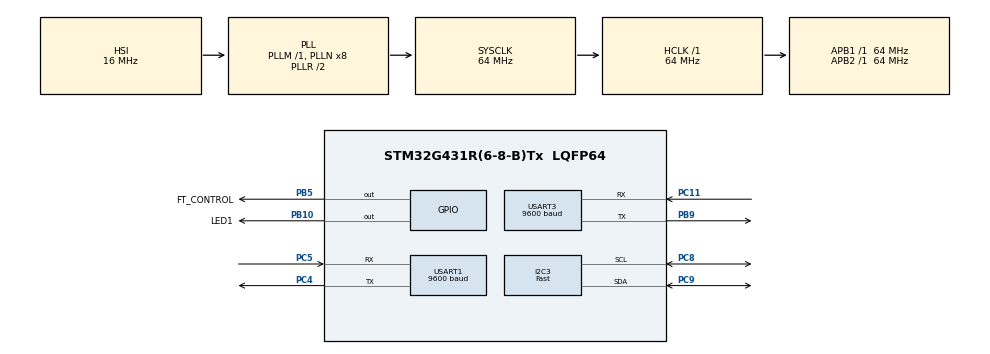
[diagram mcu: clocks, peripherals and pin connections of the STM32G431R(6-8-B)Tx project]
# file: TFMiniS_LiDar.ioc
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Dma.Request0=USART3_RX
Dma.USART3_RX.0.Direction=DMA_PERIPH_TO_MEMORY
Dma.USART3_RX.0.EventEnable=DISABLE
Dma.USART3_RX.0.Instance=DMA1_Channel1
Dma.USART3_RX.0.MemDataAlignment=DMA_MDATAALIGN_BYTE
Dma.USART3_RX.0.MemInc=DMA_MINC_ENABLE
Dma.USART3_RX.0.Mode=DMA_NORMAL
Dma.USART3_RX.0.PeriphDataAlignment=DMA_PDATAALIGN_BYTE
Dma.USART3_RX.0.PeriphInc=DMA_PINC_DISABLE
Dma.USART3_RX.0.Polarity=HAL_DMAMUX_REQ_GEN_RISING
Dma.USART3_RX.0.Priority=DMA_PRIORITY_LOW
Dma.USART3_RX.0.RequestNumber=1
Dma.USART3_RX.0.SignalID=NONE
Dma.USART3_RX.0.SyncEnable=DISABLE
Dma.USART3_RX.0.SyncPolarity=HAL_DMAMUX_SYNC_NO_EVENT
Dma.USART3_RX.0.SyncRequestNumber=1
Dma.USART3_RX.0.SyncSignalID=NONE
I2C3.CustomTiming=Disabled
I2C3.I2C_Speed_Mode=I2C_Fast
I2C3.Timing=0x00602173
Mcu.Family=STM32G4
Mcu.Name=STM32G431R(6-8-B)Tx
Mcu.Package=LQFP64
NVIC.DMA1_Channel1_IRQn=true\:0\:0\:false\:false\:true\:false\:true\:true
NVIC.PriorityGroup=NVIC_PRIORITYGROUP_4
NVIC.TIM3_IRQn=true\:2\:0\:true\:false\:true\:true\:true\:true
NVIC.USART1_IRQn=true\:1\:0\:true\:false\:true\:true\:true\:true
NVIC.USART3_IRQn=true\:0\:0\:false\:false\:true\:true\:true\:true
PA13.Mode=Serial_Wire
PA13.Signal=SYS_JTMS-SWDIO
PA14.Mode=Serial_Wire
PA14.Signal=SYS_JTCK-SWCLK
PB10.GPIO_Label=LED1
PB10.GPIO_ModeDefaultOutputPP=GPIO_MODE_OUTPUT_OD
PB10.GPIO_PuPd=GPIO_NOPULL
PB10.GPIO_Speed=GPIO_SPEED_FREQ_HIGH
PB10.Signal=GPIO_Output
PB10.Stacked=true
PB5.GPIO_Label=FT_CONTROL
PB5.Signal=GPIO_Output
PB9.Mode=Asynchronous
PB9.Signal=USART3_TX
PC11.Mode=Asynchronous
PC11.Signal=USART3_RX
PC14-OSC32_IN.Mode=LSE-External-Oscillator
PC14-OSC32_IN.Signal=RCC_OSC32_IN
PC15-OSC32_OUT.Mode=LSE-External-Oscillator
PC15-OSC32_OUT.Signal=RCC_OSC32_OUT
PC4.Mode=Asynchronous
PC4.Signal=USART1_TX
PC5.Mode=Asynchronous
PC5.Signal=USART1_RX
PC8.Mode=I2C
PC8.Signal=I2C3_SCL
PC9.Mode=I2C
PC9.Signal=I2C3_SDA
ProjectManager.HeapSize=0x200
ProjectManager.StackSize=0x600
ProjectManager.TargetToolchain=STM32CubeIDE
RCC.ADC12Freq_Value=64000000
RCC.AHBFreq_Value=64000000
RCC.APB1Freq_Value=64000000
RCC.APB1TimFreq_Value=64000000
RCC.APB2Freq_Value=64000000
RCC.APB2TimFreq_Value=64000000
RCC.CortexFreq_Value=64000000
RCC.EXTERNAL_CLOCK_VALUE=12288000
RCC.HCLKFreq_Value=64000000
RCC.HSE_VALUE=8000000
RCC.HSI48_VALUE=48000000
RCC.HSI_VALUE=16000000
RCC.RCC_MCO1Source=RCC_MCO1SOURCE_LSE
RCC.SYSCLKFreq_VALUE=64000000
RCC.SYSCLKSource=RCC_SYSCLKSOURCE_PLLCLK
RCC.USBFreq_Value=64000000
RCC.VCOOutputFreq_Value=128000000
TIM3.PeriodNoDither=239
TIM3.Prescaler=199
USART1.BaudRate=9600
USART1.VirtualMode-Asynchronous=VM_ASYNC
USART3.BaudRate=9600
USART3.VirtualMode-Asynchronous=VM_ASYNC
VP_RTC_VS_RTC_Activate.Mode=RTC_Enabled
VP_SYS_VS_DBSignals.Mode=DisableDeadBatterySignals
VP_TIM3_VS_ClockSourceINT.Mode=Internal
board=custom

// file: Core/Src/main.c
/* USER CODE BEGIN Header */
/**
 ******************************************************************************
 * @file           : main.c
 * @brief          : Main program body
 ******************************************************************************
 * @attention
 *
 * Copyright (c) 2024 STMicroelectronics.
 * All rights reserved.
 *
 * This software is licensed under terms that can be found in the LICENSE file
 * in the root directory of this software component.
 * If no LICENSE file comes with this software, it is provided AS-IS.
 *
 ******************************************************************************
 */
/* USER CODE END Header */
#include "main.h"

/* USER CODE BEGIN Includes */
#include "stm32g4xx.h"
#include <stdint.h>
#include <stdio.h>
#include <string.h>
#include <OLED_Fonts.h>
#include <OLED_Icons.h>
#include <OLED.h>
/* USER CODE END Includes */

I2C_HandleTypeDef hi2c3;

RTC_HandleTypeDef hrtc;

TIM_HandleTypeDef htim3;

UART_HandleTypeDef huart1;
UART_HandleTypeDef huart3;
DMA_HandleTypeDef hdma_usart3_rx;

/* USER CODE BEGIN PV */
char lidar_rx_buff[15] = {0};
char buff[] = "0000 cm";
char eco[] = "[g,TX]";
uint8_t cmd[] = {0x5A, 0x05, 0x07, 0x01, 0x67}; // Comando exemplo (substitua pelo comando correto)
uint8_t rcv_byte,
/*----*/init_rcv,
/*----*/flag_pacote_completo,
/*----*/auxbuff = 0;
uint16_t altura_sensor,
/*-----*/altura_sensor_old,
/*-----*/cont[8]= {0};
/* USER CODE END PV */

void SystemClock_Config(void);
static void MX_GPIO_Init(void);
static void MX_DMA_Init(void);
static void MX_I2C3_Init(void);
static void MX_TIM3_Init(void);
static void MX_USART3_UART_Init(void);
static void MX_RTC_Init(void);
static void MX_USART1_UART_Init(void);
/* USER CODE BEGIN PFP */
uint8_t leitura_buffer(void);
void trata_uart(void);
void trata_string(void);
void transmite_tfmini(void);
/* USER CODE END PFP */

/* USER CODE BEGIN 0 */
void HAL_UART_RxCpltCallback(UART_HandleTypeDef *huart){
	if(huart->Instance == USART3) {	/*USART 2 RS485*/
		if(rcv_byte == '[')
			init_rcv = 1;
		if(init_rcv){
			lidar_rx_buff[auxbuff] = rcv_byte;
			auxbuff++;
		}
		if(rcv_byte == ']'){
			flag_pacote_completo = 1;
			auxbuff = 0;
		}
		if(auxbuff>=15){
			flag_pacote_completo = 1;
			auxbuff = 0;
		}
		else
			HAL_UART_Receive_DMA(&huart3, (uint8_t*)&rcv_byte, sizeof(rcv_byte));	/*RECEBE UM BYTE*/
	}
}
void HAL_TIM_PeriodElapsedCallback(TIM_HandleTypeDef * htim){						/*ENDEREÇO DE HTIM COMO PARAMETRO*/
	if(htim->Instance == TIM3){
		/***************************************************************************************************************************
		 * IR�? LER O MEMBRO DA ESTRUTURA APONTADO PELO PONTEIRO PASSADO COMO ARGUMENTO (*htim/nome da estrutura) DA FUNC CALL BACK *
		 * FUNÇÃO DE TRATAMENTO DE INTERRUPÇÃO POR OVERFLOW TIMER3, Instance É A FLAG QUE INDICA QUAL TIMER GEROU A INTERRUPÇÃO    *
		 * DELAYS POR INTERRUPÇÃO - CONTADORES																					   *
		 ***************************************************************************************************************************/
		/*------------------INCREMENTO DOS CONTADORES--------------------*/
		cont[0]++;
		if(cont[0]>=250){
			HAL_GPIO_TogglePin(LED1_GPIO_Port, LED1_Pin);	/*PISCA LED DE VERIFICAÇÃO*/
			cont[0] = 0;
		}
	}
}
void trata_uart(void){	/*TRATA O PACOTE RECEBIDO NA UART 3 ENVIADO PELO SENSOR*/

	altura_sensor = 0;
	altura_sensor = (lidar_rx_buff[7] - 0x30);
	altura_sensor *= 10;
	altura_sensor += (lidar_rx_buff[8] - 0x30);
	altura_sensor *= 10;
	altura_sensor += (lidar_rx_buff[9] - 0x30);
	altura_sensor *= 10;
	altura_sensor += (lidar_rx_buff[10] - 0x30);

	if(altura_sensor >999)
		altura_sensor = altura_sensor_old;
	else
		altura_sensor_old = altura_sensor;

	flag_pacote_completo = 0;
}
/*SER�? IMPLEMENTADO DEPOIS*/
void trata_string(void){
	sprintf(buff, "%04d cm", altura_sensor);
}
void transmite_tfmini(void){	/*TRATA A STRING E TRANSMITE VIA RF*/
	char buff1[9] = "0000 cm\n";
	sprintf(buff1, "%04d cm\n", altura_sensor);
	HAL_UART_Transmit(&huart1, (uint8_t*)buff1, sizeof(buff1), 0xFF);
}
/* USER CODE END 0 */

int main(void)
{

  /* MCU Configuration--------------------------------------------------------*/

  /* Reset of all peripherals, Initializes the Flash interface and the Systick. */
  HAL_Init();

  /* Configure the system clock */
  SystemClock_Config();

  /* Initialize all configured peripherals */
  MX_GPIO_Init();
  MX_DMA_Init();
  MX_I2C3_Init();
  MX_TIM3_Init();
  MX_USART3_UART_Init();
  MX_RTC_Init();
  MX_USART1_UART_Init();
  /* USER CODE BEGIN 2 */
	HAL_TIM_Base_Start_IT(&htim3); //INCIA TIMER3 COM INTERRUPÇÃO NO OVERFLOW
	HAL_Delay(100);
	HAL_GPIO_WritePin(FT_CONTROL_GPIO_Port, FT_CONTROL_Pin, GPIO_PIN_RESET);		/*SETA O DISPOSITIVO PARA RECEBIMENTO*/
	HAL_UART_Receive_DMA(&huart3, (uint8_t*)&rcv_byte, 1);					/*RECEBE UM BYTE*//*TRIGGER RX*/
	/*INICIANDO DISPLAY*/
	OLED_Init(&hi2c3);
	OLED_Clear(0);
	OLED_UpdateScreen();
  /* USER CODE END 2 */

  /* Infinite loop */
	while (1)
	{

    /* USER CODE BEGIN 3 */
		if(flag_pacote_completo){
			trata_uart();			/*TRATA OS RECEBIDOS VIA RS485*/
			transmite_tfmini();		/*TRANSMITE NO MODULO HC12(RF)*/
			/*TRIGGER, RE-TRANSMITE A REQUISIÇÃO DE DADOS DO SENSOR*/
			//HAL_GPIO_WritePin(FT_CONTROL_GPIO_Port, FT_CONTROL_Pin, GPIO_PIN_SET);		/*SETA O DISPOSITIVO PARA TRANSMISSÃO*/
			//HAL_UART_Transmit(&huart3, (uint8_t*)eco, sizeof(eco), 0xFF);				/*TRANSMITE A REQUISIÇÃO DE DADOS DO SENSOR*/
			//HAL_GPIO_WritePin(FT_CONTROL_GPIO_Port, FT_CONTROL_Pin, GPIO_PIN_RESET);		/*SETA O DISPOSITIVO PARA RECEBIMENTO*/
			//HAL_UART_Receive_IT(&huart3, (uint8_t*)&rcv_byte, sizeof(rcv_byte));		/*RECEBE UM BYTE*//*TRIGGER RX*/
		}
		OLED_Clear(0);								/*LIMPA A TELA*/
		FontSet(Lucida_14);							/*SETA A FONTE DO DISPLAY*/
		OLED_DrawStr("TF Mini Plus", CENTER, 1, 1);	/*IMPRIME NO DISPLAY*/
		trata_string();								/*TRATA A STRING A SER IMPRIMIDA NO DISPLAY*/
		OLED_DrawStr(buff, CENTER, 40,1);			/*ESCREVE NO BUFFER DO DISPLAY*/
		OLED_UpdateScreen();						/*ATUALIZA A TELA COM O CONTEUDO DO BUFFER DO DISPLAY*/
		HAL_Delay(100);
		HAL_UART_Receive_DMA(&huart3, (uint8_t*)&rcv_byte, sizeof(rcv_byte));		/*RECEBE UM BYTE*//*TRIGGER RX*/
	}
  /* USER CODE END 3 */
}

void SystemClock_Config(void)
{
  RCC_OscInitTypeDef RCC_OscInitStruct = {0};
  RCC_ClkInitTypeDef RCC_ClkInitStruct = {0};

  /** Configure the main internal regulator output voltage
  */
  HAL_PWREx_ControlVoltageScaling(PWR_REGULATOR_VOLTAGE_SCALE1);

  /** Initializes the RCC Oscillators according to the specified parameters
  * in the RCC_OscInitTypeDef structure.
  */
  RCC_OscInitStruct.OscillatorType = RCC_OSCILLATORTYPE_HSI|RCC_OSCILLATORTYPE_LSI;
  RCC_OscInitStruct.HSIState = RCC_HSI_ON;
  RCC_OscInitStruct.HSICalibrationValue = RCC_HSICALIBRATION_DEFAULT;
  RCC_OscInitStruct.LSIState = RCC_LSI_ON;
  RCC_OscInitStruct.PLL.PLLState = RCC_PLL_ON;
  RCC_OscInitStruct.PLL.PLLSource = RCC_PLLSOURCE_HSI;
  RCC_OscInitStruct.PLL.PLLM = RCC_PLLM_DIV1;
  RCC_OscInitStruct.PLL.PLLN = 8;
  RCC_OscInitStruct.PLL.PLLP = RCC_PLLP_DIV2;
  RCC_OscInitStruct.PLL.PLLQ = RCC_PLLQ_DIV2;
  RCC_OscInitStruct.PLL.PLLR = RCC_PLLR_DIV2;
  if (HAL_RCC_OscConfig(&RCC_OscInitStruct) != HAL_OK)
  {
    Error_Handler();
  }

  /** Initializes the CPU, AHB and APB buses clocks
  */
  RCC_ClkInitStruct.ClockType = RCC_CLOCKTYPE_HCLK|RCC_CLOCKTYPE_SYSCLK
                              |RCC_CLOCKTYPE_PCLK1|RCC_CLOCKTYPE_PCLK2;
  RCC_ClkInitStruct.SYSCLKSource = RCC_SYSCLKSOURCE_PLLCLK;
  RCC_ClkInitStruct.AHBCLKDivider = RCC_SYSCLK_DIV1;
  RCC_ClkInitStruct.APB1CLKDivider = RCC_HCLK_DIV1;
  RCC_ClkInitStruct.APB2CLKDivider = RCC_HCLK_DIV1;

  if (HAL_RCC_ClockConfig(&RCC_ClkInitStruct, FLASH_LATENCY_2) != HAL_OK)
  {
    Error_Handler();
  }
}

static void MX_I2C3_Init(void)
{

  hi2c3.Instance = I2C3;
  hi2c3.Init.Timing = 0x00602173;
  hi2c3.Init.OwnAddress1 = 0;
  hi2c3.Init.AddressingMode = I2C_ADDRESSINGMODE_7BIT;
  hi2c3.Init.DualAddressMode = I2C_DUALADDRESS_DISABLE;
  hi2c3.Init.OwnAddress2 = 0;
  hi2c3.Init.OwnAddress2Masks = I2C_OA2_NOMASK;
  hi2c3.Init.GeneralCallMode = I2C_GENERALCALL_DISABLE;
  hi2c3.Init.NoStretchMode = I2C_NOSTRETCH_DISABLE;
  if (HAL_I2C_Init(&hi2c3) != HAL_OK)
  {
    Error_Handler();
  }

  /** Configure Analogue filter
  */
  if (HAL_I2CEx_ConfigAnalogFilter(&hi2c3, I2C_ANALOGFILTER_ENABLE) != HAL_OK)
  {
    Error_Handler();
  }

  /** Configure Digital filter
  */
  if (HAL_I2CEx_ConfigDigitalFilter(&hi2c3, 0) != HAL_OK)
  {
    Error_Handler();
  }

}

static void MX_RTC_Init(void)
{

  /** Initialize RTC Only
  */
  hrtc.Instance = RTC;
  hrtc.Init.HourFormat = RTC_HOURFORMAT_24;
  hrtc.Init.AsynchPrediv = 127;
  hrtc.Init.SynchPrediv = 255;
  hrtc.Init.OutPut = RTC_OUTPUT_DISABLE;
  hrtc.Init.OutPutRemap = RTC_OUTPUT_REMAP_NONE;
  hrtc.Init.OutPutPolarity = RTC_OUTPUT_POLARITY_HIGH;
  hrtc.Init.OutPutType = RTC_OUTPUT_TYPE_OPENDRAIN;
  hrtc.Init.OutPutPullUp = RTC_OUTPUT_PULLUP_NONE;
  if (HAL_RTC_Init(&hrtc) != HAL_OK)
  {
    Error_Handler();
  }

}

static void MX_TIM3_Init(void)
{

  TIM_ClockConfigTypeDef sClockSourceConfig = {0};
  TIM_MasterConfigTypeDef sMasterConfig = {0};

  htim3.Instance = TIM3;
  htim3.Init.Prescaler = 199;
  htim3.Init.CounterMode = TIM_COUNTERMODE_UP;
  htim3.Init.Period = 239;
  htim3.Init.ClockDivision = TIM_CLOCKDIVISION_DIV1;
  htim3.Init.AutoReloadPreload = TIM_AUTORELOAD_PRELOAD_DISABLE;
  if (HAL_TIM_Base_Init(&htim3) != HAL_OK)
  {
    Error_Handler();
  }
  sClockSourceConfig.ClockSource = TIM_CLOCKSOURCE_INTERNAL;
  if (HAL_TIM_ConfigClockSource(&htim3, &sClockSourceConfig) != HAL_OK)
  {
    Error_Handler();
  }
  sMasterConfig.MasterOutputTrigger = TIM_TRGO_RESET;
  sMasterConfig.MasterSlaveMode = TIM_MASTERSLAVEMODE_DISABLE;
  if (HAL_TIMEx_MasterConfigSynchronization(&htim3, &sMasterConfig) != HAL_OK)
  {
    Error_Handler();
  }

}

static void MX_USART1_UART_Init(void)
{

  huart1.Instance = USART1;
  huart1.Init.BaudRate = 9600;
  huart1.Init.WordLength = UART_WORDLENGTH_8B;
  huart1.Init.StopBits = UART_STOPBITS_1;
  huart1.Init.Parity = UART_PARITY_NONE;
  huart1.Init.Mode = UART_MODE_TX_RX;
  huart1.Init.HwFlowCtl = UART_HWCONTROL_NONE;
  huart1.Init.OverSampling = UART_OVERSAMPLING_16;
  huart1.Init.OneBitSampling = UART_ONE_BIT_SAMPLE_DISABLE;
  huart1.Init.ClockPrescaler = UART_PRESCALER_DIV1;
  huart1.AdvancedInit.AdvFeatureInit = UART_ADVFEATURE_NO_INIT;
  if (HAL_UART_Init(&huart1) != HAL_OK)
  {
    Error_Handler();
  }
  if (HAL_UARTEx_SetTxFifoThreshold(&huart1, UART_TXFIFO_THRESHOLD_1_8) != HAL_OK)
  {
    Error_Handler();
  }
  if (HAL_UARTEx_SetRxFifoThreshold(&huart1, UART_RXFIFO_THRESHOLD_1_8) != HAL_OK)
  {
    Error_Handler();
  }
  if (HAL_UARTEx_DisableFifoMode(&huart1) != HAL_OK)
  {
    Error_Handler();
  }

}

static void MX_USART3_UART_Init(void)
{

  huart3.Instance = USART3;
  huart3.Init.BaudRate = 9600;
  huart3.Init.WordLength = UART_WORDLENGTH_8B;
  huart3.Init.StopBits = UART_STOPBITS_1;
  huart3.Init.Parity = UART_PARITY_NONE;
  huart3.Init.Mode = UART_MODE_TX_RX;
  huart3.Init.HwFlowCtl = UART_HWCONTROL_NONE;
  huart3.Init.OverSampling = UART_OVERSAMPLING_16;
  huart3.Init.OneBitSampling = UART_ONE_BIT_SAMPLE_DISABLE;
  huart3.Init.ClockPrescaler = UART_PRESCALER_DIV1;
  huart3.AdvancedInit.AdvFeatureInit = UART_ADVFEATURE_NO_INIT;
  if (HAL_UART_Init(&huart3) != HAL_OK)
  {
    Error_Handler();
  }
  if (HAL_UARTEx_SetTxFifoThreshold(&huart3, UART_TXFIFO_THRESHOLD_1_8) != HAL_OK)
  {
    Error_Handler();
  }
  if (HAL_UARTEx_SetRxFifoThreshold(&huart3, UART_RXFIFO_THRESHOLD_1_8) != HAL_OK)
  {
    Error_Handler();
  }
  if (HAL_UARTEx_DisableFifoMode(&huart3) != HAL_OK)
  {
    Error_Handler();
  }

}

static void MX_DMA_Init(void)
{

  /* DMA controller clock enable */
  __HAL_RCC_DMAMUX1_CLK_ENABLE();
  __HAL_RCC_DMA1_CLK_ENABLE();

  /* DMA interrupt init */
  /* DMA1_Channel1_IRQn interrupt configuration */
  HAL_NVIC_SetPriority(DMA1_Channel1_IRQn, 0, 0);
  HAL_NVIC_EnableIRQ(DMA1_Channel1_IRQn);

}

static void MX_GPIO_Init(void)
{
  GPIO_InitTypeDef GPIO_InitStruct = {0};

  /* GPIO Ports Clock Enable */
  __HAL_RCC_GPIOC_CLK_ENABLE();
  __HAL_RCC_GPIOB_CLK_ENABLE();
  __HAL_RCC_GPIOA_CLK_ENABLE();

  /*Configure GPIO pin Output Level */
  HAL_GPIO_WritePin(GPIOB, LED1_Pin|FT_CONTROL_Pin, GPIO_PIN_RESET);

  /*Configure GPIO pin : LED1_Pin */
  GPIO_InitStruct.Pin = LED1_Pin;
  GPIO_InitStruct.Mode = GPIO_MODE_OUTPUT_OD;
  GPIO_InitStruct.Pull = GPIO_NOPULL;
  GPIO_InitStruct.Speed = GPIO_SPEED_FREQ_HIGH;
  HAL_GPIO_Init(LED1_GPIO_Port, &GPIO_InitStruct);

  /*Configure GPIO pin : FT_CONTROL_Pin */
  GPIO_InitStruct.Pin = FT_CONTROL_Pin;
  GPIO_InitStruct.Mode = GPIO_MODE_OUTPUT_PP;
  GPIO_InitStruct.Pull = GPIO_NOPULL;
  GPIO_InitStruct.Speed = GPIO_SPEED_FREQ_LOW;
  HAL_GPIO_Init(FT_CONTROL_GPIO_Port, &GPIO_InitStruct);

}

void Error_Handler(void)
{
	__disable_irq();
	while (1)
	{
	}
}
